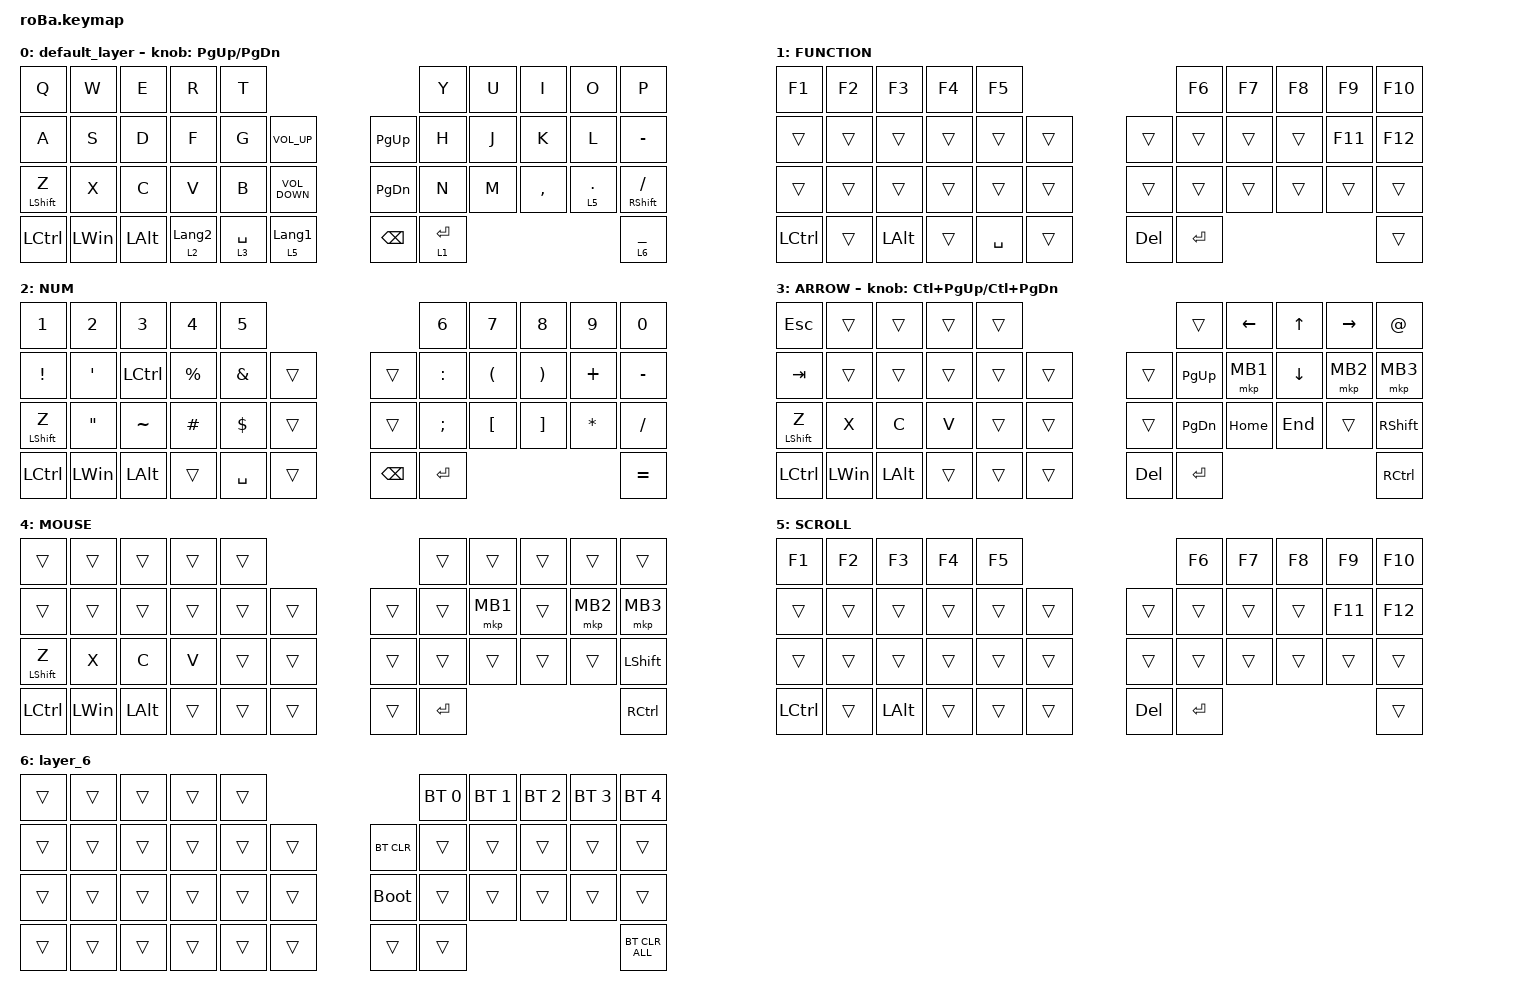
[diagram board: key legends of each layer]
#include <behaviors.dtsi>
#include <dt-bindings/zmk/bt.h>
#include <dt-bindings/zmk/keys.h>
#include <dt-bindings/zmk/pointing.h>

&mt {
    flavor = "balanced";
    quick-tap-ms = <0>;
};

&trackball {
    automouse-layer = <4>;
    scroll-layers = <5>;

    // arrows {
    //     layers = <3>;
    //     bindings =
    //         <&kp RIGHT_ARROW>,
    //         <&kp LEFT_ARROW>,
    //         <&kp UP_ARROW>,
    //         <&kp DOWN_ARROW>;
    //     tick = <10>;
    //     wait-ms = <5>;
    //     tap-ms = <5>;
    // };
};

/ {
    //Added 2026/06/29 for AML Thread  
    zip_temp_layer: zip_temp_layer {         
    
    compatible = "zmk,behavior-drag-scroll";         
    #binding-cells = <0>;        
    min-drag-distance = <12>;     
    };

    combos {
        compatible = "zmk,combos";

        tab {
            bindings = <&kp TAB>;
            key-positions = <11 12>;
        };

        shift_tab {
            bindings = <&kp LS(TAB)>;
            key-positions = <12 13>;
        };

        muhennkann {
            bindings = <&to_layer_0 INT_MUHENKAN>;
            key-positions = <11 10>;
        };

        double_quotation {
            bindings = <&kp DOUBLE_QUOTES>;
            key-positions = <20 21>;
        };

        eq {
            bindings = <&kp EQUAL>;
            key-positions = <24 25>;
        };
    };

    macros {
        to_layer_0: to_layer_0 {
            compatible = "zmk,behavior-macro-one-param";
            #binding-cells = <1>;
            bindings = <&to 0 &macro_param_1to1 &kp MACRO_PLACEHOLDER>;
            label = "TO_LAYER_0";
        };
    };

    behaviors {
        lt_to_layer_0: lt_to_layer_0 {
            compatible = "zmk,behavior-hold-tap";
            label = "LAYER_TAP_TO_0";
            bindings = <&mo>, <&to_layer_0>;

            #binding-cells = <2>;
            tapping-term-ms = <200>;
        };
    };

    keymap {
        compatible = "zmk,keymap";

        default_layer {
            bindings = <
&kp Q             &kp W         &kp E         &kp R                        &kp T                                                        &kp Y        &kp U  &kp I      &kp O                 &kp P
&kp A             &kp S         &kp D         &kp F                        &kp G        &kp C_VOLUME_UP                  &kp PAGE_UP    &kp H        &kp J  &kp K      &kp L                 &kp MINUS
&mt LEFT_SHIFT Z  &kp X         &kp C         &kp V                        &kp B        &kp C_VOLUME_DOWN                &kp PAGE_DOWN  &kp N        &kp M  &kp COMMA  &lt_to_layer_0 5 DOT  &mt RIGHT_SHIFT SLASH
&kp LCTRL         &kp LEFT_WIN  &kp LEFT_ALT  &lt_to_layer_0 2 LANGUAGE_2  &lt 3 SPACE  &lt_to_layer_0 5 LANGUAGE_1      &kp BACKSPACE  &lt 1 ENTER                                          &lt 6 UNDERSCORE
            >;

            sensor-bindings = <&inc_dec_kp PG_UP PAGE_DOWN>;
        };

        FUNCTION {
            bindings = <
&kp F1     &kp F2  &kp F3        &kp F4  &kp F5                          &kp F6     &kp F7  &kp F8  &kp F9   &kp F10
&trans     &trans  &trans        &trans  &trans     &trans      &trans   &trans     &trans  &trans  &kp F11  &kp F12
&trans     &trans  &trans        &trans  &trans     &trans      &trans   &trans     &trans  &trans  &trans   &trans
&kp LCTRL  &trans  &kp LEFT_ALT  &trans  &kp SPACE  &trans      &kp DEL  &kp ENTER                           &trans
            >;
        };

        NUM {
            bindings = <
&kp NUMBER_1      &kp NUMBER_2       &kp NUMBER_3  &kp NUMBER_4  &kp N5                                    &kp NUMBER_6   &kp N7                &kp N8                 &kp N9        &kp N0
&kp EXCLAMATION   &kp SQT            &kp LCTRL     &kp PERCENT   &kp AMPERSAND  &trans      &trans         &kp COLON      &kp LEFT_PARENTHESIS  &kp RIGHT_PARENTHESIS  &kp PLUS      &kp MINUS
&mt LEFT_SHIFT Z  &kp DOUBLE_QUOTES  &kp TILDE     &kp HASH      &kp DOLLAR     &trans      &trans         &kp SEMICOLON  &kp LEFT_BRACKET      &kp RIGHT_BRACKET      &kp ASTERISK  &kp SLASH
&kp LCTRL         &kp LEFT_WIN       &kp LEFT_ALT  &trans        &kp SPACE      &trans      &kp BACKSPACE  &kp ENTER                                                                 &kp EQUAL
            >;
        };

        ARROW {
            bindings = <
&kp ESCAPE        &trans        &trans        &trans  &trans                       &trans         &kp LEFT_ARROW  &kp UP_ARROW    &kp RIGHT_ARROW  &kp AT
&kp TAB           &trans        &trans        &trans  &trans  &trans      &trans   &kp PAGE_UP    &mkp MB1        &kp DOWN_ARROW  &mkp MB2         &mkp MB3
&mt LEFT_SHIFT Z  &kp X         &kp C         &kp V   &trans  &trans      &trans   &kp PAGE_DOWN  &kp HOME        &kp END         &trans           &kp RIGHT_SHIFT
&kp LEFT_CONTROL  &kp LEFT_WIN  &kp LEFT_ALT  &trans  &trans  &trans      &kp DEL  &kp ENTER                                                       &kp RCTRL
            >;

            sensor-bindings = <&inc_dec_kp LC(PAGE_UP) LC(PAGE_DOWN)>;
        };

        MOUSE {
            bindings = <
&trans            &trans        &trans        &trans  &trans                      &trans     &trans    &trans  &trans    &trans
&trans            &trans        &trans        &trans  &trans  &trans      &trans  &trans     &mkp MB1  &trans  &mkp MB2  &mkp MB3
&mt LEFT_SHIFT Z  &kp X         &kp C         &kp V   &trans  &trans      &trans  &trans     &trans    &trans  &trans    &kp LEFT_SHIFT
&kp LEFT_CONTROL  &kp LEFT_WIN  &kp LEFT_ALT  &trans  &trans  &trans      &trans  &kp ENTER                              &kp RIGHT_CONTROL
            >;
        };

        SCROLL {
            bindings = <
&kp F1     &kp F2  &kp F3        &kp F4  &kp F5                          &kp F6     &kp F7  &kp F8  &kp F9   &kp F10
&trans     &trans  &trans        &trans  &trans  &trans      &trans      &trans     &trans  &trans  &kp F11  &kp F12
&trans     &trans  &trans        &trans  &trans  &trans      &trans      &trans     &trans  &trans  &trans   &trans
&kp LCTRL  &trans  &kp LEFT_ALT  &trans  &trans  &trans      &kp DELETE  &kp ENTER                           &trans
            >;
        };

        layer_6 {
            bindings = <
&trans  &trans  &trans  &trans  &trans                           &bt BT_SEL 0  &bt BT_SEL 1  &bt BT_SEL 2  &bt BT_SEL 3  &bt BT_SEL 4
&trans  &trans  &trans  &trans  &trans  &trans      &bt BT_CLR   &trans        &trans        &trans        &trans        &trans
&trans  &trans  &trans  &trans  &trans  &trans      &bootloader  &trans        &trans        &trans        &trans        &trans
&trans  &trans  &trans  &trans  &trans  &trans      &trans       &trans                                                  &bt BT_CLR_ALL
            >;
        };
    };
};
